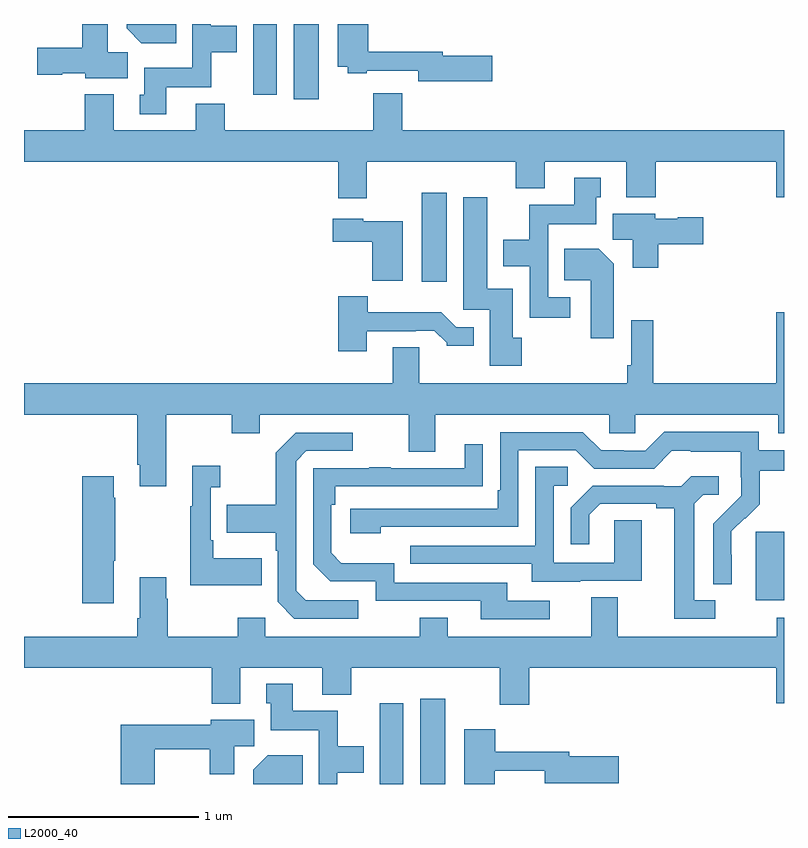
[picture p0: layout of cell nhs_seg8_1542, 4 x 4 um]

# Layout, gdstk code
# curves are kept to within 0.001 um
import gdstk
lib = gdstk.Library(unit=1e-6, precision=1e-09)
def R(c, l, rs):  # rectangles x0, y0, x1, y1
    for r in rs: c.add(gdstk.rectangle(r[:2], r[2:], *l))
def P(c, l, *ps):  # polygons
    for p in ps: c.add(gdstk.Polygon(p, *l))
L2000_40 = (2000, 40)

nhs_seg8_1542 = lib.new_cell('nhs_seg8_1542')
R(nhs_seg8_1542, L2000_40, [(210.872,1103.9,210.997,1104.325), (211.085,1103.9,211.216,1104.349), (212.852,1104.866,213,1105.227), (211.094,1106.544,211.225,1107.013), (210.419,1107.504,210.55,1107.9), (210.206,1107.528,210.331,1107.9)])
P(nhs_seg8_1542, L2000_40, [(209.801,1107.9),(209.54,1107.9),(209.54,1107.878),(209.618,1107.8),(209.801,1107.8)],
  [(211.465,1107.734),(211.204,1107.734),(211.204,1107.755),(210.812,1107.755),(210.812,1107.9),(210.65,1107.9),(210.65,1107.674),(210.705,1107.674),(210.705,1107.642),(210.805,1107.642),(210.805,1107.654),(211.076,1107.654),(211.076,1107.599),(211.465,1107.599)],
  [(209.749,1107.566),(209.985,1107.566),(209.985,1107.752),(210.121,1107.752),(210.121,1107.892),(209.982,1107.892),(209.982,1107.9),(209.886,1107.9),(209.886,1107.67),(209.633,1107.67),(209.633,1107.528),(209.609,1107.528),(209.609,1107.426),(209.749,1107.426)],
  [(209.545,1107.752),(209.44,1107.752),(209.44,1107.9),(209.306,1107.9),(209.306,1107.776),(209.07,1107.776),(209.07,1107.634),(209.202,1107.634),(209.202,1107.641),(209.322,1107.641),(209.322,1107.614),(209.545,1107.614)],
  [(210.805,1107.176),(211.589,1107.176),(211.589,1107.035),(211.741,1107.035),(211.741,1107.176),(212.171,1107.176),(212.171,1106.987),(212.324,1106.987),(212.324,1107.176),(212.96,1107.176),(212.96,1106.988),(213,1106.988),(213,1107.34),(210.992,1107.34),(210.992,1107.535),(210.839,1107.535),(210.839,1107.34),(210.056,1107.34),(210.056,1107.481),(209.903,1107.481),(209.903,1107.34),(209.473,1107.34),(209.473,1107.529),(209.321,1107.529),(209.321,1107.34),(209,1107.34),(209,1107.176),(210.653,1107.176),(210.653,1106.982),(210.805,1106.982)],
  [(211.876,1106.463),(211.758,1106.463),(211.758,1106.846),(212.011,1106.846),(212.011,1106.988),(212.035,1106.988),(212.035,1107.091),(211.895,1107.091),(211.895,1106.95),(211.66,1106.95),(211.66,1106.764),(211.523,1106.764),(211.523,1106.624),(211.662,1106.624),(211.662,1106.355),(211.876,1106.355)],
  [(211.62,1106.25),(211.573,1106.25),(211.573,1106.506),(211.438,1106.506),(211.438,1106.989),(211.313,1106.989),(211.313,1106.397),(211.451,1106.397),(211.451,1106.102),(211.62,1106.102)],
  [(212.339,1106.741),(212.575,1106.741),(212.575,1106.883),(212.442,1106.883),(212.442,1106.875),(212.322,1106.875),(212.322,1106.902),(212.099,1106.902),(212.099,1106.764),(212.204,1106.764),(212.204,1106.616),(212.339,1106.616)],
  [(210.994,1106.863),(210.786,1106.863),(210.786,1106.875),(210.624,1106.875),(210.624,1106.753),(210.832,1106.753),(210.832,1106.549),(210.994,1106.549)],
  [(212.104,1106.638),(212.026,1106.716),(211.843,1106.716),(211.843,1106.552),(211.982,1106.552),(211.982,1106.247),(212.104,1106.247)],
  [(210.805,1106.283),(211.061,1106.283),(211.061,1106.286),(211.16,1106.286),(211.224,1106.222),(211.224,1106.207),(211.366,1106.207),(211.366,1106.304),(211.275,1106.304),(211.197,1106.383),(210.808,1106.383),(210.808,1106.467),(210.653,1106.467),(210.653,1106.178),(210.805,1106.178)],
  [(209.749,1105.844),(210.094,1105.844),(210.094,1105.745),(210.241,1105.745),(210.241,1105.844),(211.025,1105.844),(211.025,1105.65),(211.165,1105.65),(211.165,1105.844),(212.079,1105.844),(212.079,1105.746),(212.217,1105.746),(212.217,1105.844),(212.969,1105.844),(212.969,1105.745),(213,1105.745),(213,1106.383),(212.96,1106.383),(212.96,1106.008),(212.312,1106.008),(212.312,1106.341),(212.196,1106.341),(212.196,1106.104),(212.176,1106.104),(212.176,1106.008),(211.081,1106.008),(211.081,1106.198),(210.941,1106.198),(210.941,1106.008),(209,1106.008),(209,1105.844),(209.597,1105.844),(209.597,1105.579),(209.609,1105.579),(209.609,1105.467),(209.749,1105.467)],
  [(212.724,1105.106),(212.723,1105.229),(212.793,1105.299),(212.796,1105.296),(212.873,1105.373),(212.873,1105.548),(213,1105.548),(213,1105.656),(212.868,1105.656),(212.868,1105.753),(212.371,1105.753),(212.271,1105.653),(212.156,1105.653),(212.156,1105.656),(212.037,1105.656),(211.941,1105.752),(211.506,1105.752),(211.506,1105.447),(211.493,1105.447),(211.493,1105.35),(210.717,1105.35),(210.717,1105.22),(210.878,1105.22),(210.878,1105.254),(211.602,1105.254),(211.602,1105.656),(211.905,1105.656),(212.001,1105.56),(212.316,1105.56),(212.409,1105.653),(212.509,1105.653),(212.509,1105.649),(212.772,1105.649),(212.772,1105.515),(212.774,1105.515),(212.774,1105.418),(212.628,1105.27),(212.628,1104.952),(212.724,1104.952)],
  [(210.76,1104.867),(210.483,1104.867),(210.432,1104.918),(210.432,1105.599),(210.486,1105.653),(210.73,1105.653),(210.73,1105.749),(210.429,1105.749),(210.324,1105.643),(210.324,1105.371),(210.067,1105.371),(210.067,1105.223),(210.324,1105.223),(210.324,1105.127),(210.336,1105.127),(210.336,1104.858),(210.423,1104.771),(210.76,1104.771)],
  [(211.768,1104.864),(211.543,1104.864),(211.543,1104.96),(210.948,1104.96),(210.948,1105.063),(210.671,1105.063),(210.618,1105.116),(210.618,1105.37),(210.638,1105.37),(210.638,1105.467),(211.415,1105.468),(211.415,1105.687),(211.319,1105.687),(211.319,1105.563),(210.929,1105.563),(210.929,1105.568),(210.817,1105.568),(210.817,1105.563),(210.522,1105.563),(210.522,1105.056),(210.612,1104.966),(210.852,1104.966),(210.852,1104.864),(211.403,1104.864),(211.403,1104.768),(211.768,1104.768)],
  [(210.251,1105.087),(209.995,1105.087),(209.995,1105.183),(209.982,1105.183),(209.982,1105.463),(210.034,1105.463),(210.034,1105.576),(209.885,1105.576),(209.885,1105.363),(209.874,1105.363),(209.874,1104.947),(210.251,1104.947)],
  [(211.927,1104.969),(212.251,1104.969),(212.251,1105.289),(212.106,1105.289),(212.106,1105.065),(211.788,1105.065),(211.788,1105.47),(211.861,1105.47),(211.861,1105.571),(211.692,1105.571),(211.692,1105.155),(211.033,1105.155),(211.033,1105.059),(211.673,1105.059),(211.673,1104.965),(211.927,1104.965)],
  [(209.473,1105.075),(209.481,1105.075),(209.481,1105.406),(209.473,1105.406),(209.473,1105.519),(209.306,1105.519),(209.306,1104.852),(209.473,1104.852)],
  [(212.638,1104.867),(212.527,1104.867),(212.527,1105.375),(212.574,1105.422),(212.656,1105.422),(212.656,1105.519),(212.512,1105.519),(212.46,1105.467),(212.366,1105.467),(212.366,1105.47),(211.994,1105.47),(211.878,1105.354),(211.878,1105.161),(211.975,1105.161),(211.975,1105.317),(212.032,1105.374),(212.327,1105.374),(212.327,1105.352),(212.423,1105.352),(212.423,1104.771),(212.638,1104.771)],
  [(211.658,1104.512),(212.96,1104.512),(212.96,1104.324),(213,1104.324),(213,1104.775),(212.962,1104.775),(212.962,1104.676),(212.125,1104.676),(212.125,1104.884),(211.985,1104.884),(211.985,1104.676),(211.231,1104.676),(211.231,1104.775),(211.084,1104.775),(211.084,1104.676),(210.27,1104.676),(210.27,1104.775),(210.124,1104.775),(210.124,1104.676),(209.757,1104.676),(209.757,1104.875),(209.749,1104.875),(209.749,1104.988),(209.609,1104.988),(209.609,1104.772),(209.597,1104.772),(209.597,1104.676),(209,1104.676),(209,1104.512),(209.987,1104.512),(209.987,1104.323),(210.139,1104.323),(210.139,1104.512),(210.569,1104.512),(210.569,1104.371),(210.722,1104.371),(210.722,1104.512),(211.505,1104.512),(211.505,1104.318),(211.658,1104.318)],
  [(210.648,1103.96),(210.787,1103.96),(210.787,1104.1),(210.651,1104.1),(210.651,1104.286),(210.415,1104.286),(210.415,1104.427),(210.275,1104.427),(210.275,1104.324),(210.299,1104.324),(210.299,1104.182),(210.552,1104.182),(210.552,1103.9),(210.648,1103.9)],
  [(209.688,1104.082),(209.977,1104.082),(209.977,1103.952),(210.106,1103.952),(210.106,1104.1),(210.211,1104.1),(210.211,1104.238),(209.984,1104.238),(209.984,1104.211),(209.51,1104.211),(209.51,1103.9),(209.688,1103.9)],
  [(211.478,1103.969),(211.742,1103.969),(211.742,1103.903),(212.131,1103.903),(212.131,1104.045),(211.87,1104.045),(211.87,1104.069),(211.48,1104.069),(211.48,1104.187),(211.316,1104.187),(211.316,1103.9),(211.478,1103.9)],
  [(210.467,1104.052),(210.284,1104.052),(210.206,1103.974),(210.206,1103.9),(210.467,1103.9)])

lib.write_gds('nhs_seg8_1542.gds')
